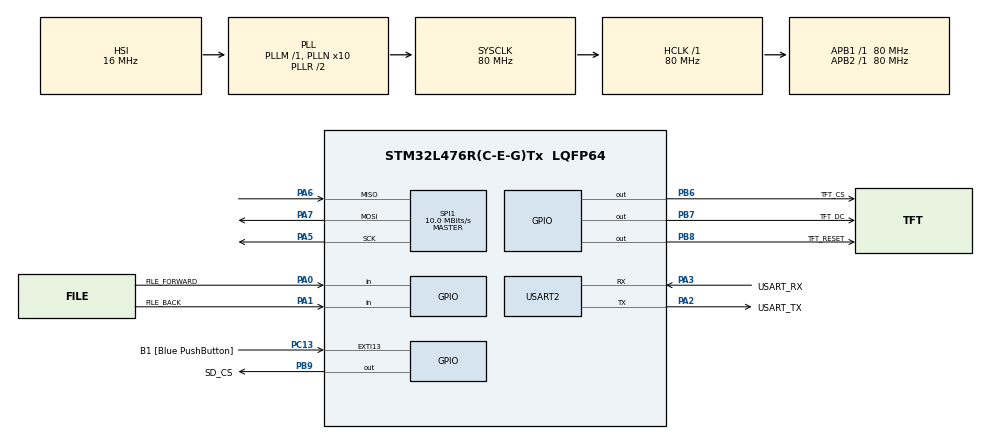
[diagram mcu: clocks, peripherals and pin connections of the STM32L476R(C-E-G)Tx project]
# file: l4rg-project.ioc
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FATFS._USE_LFN=2
FREERTOS.Mutexes01=spiMutex,Dynamic,NULL,Available;fileMutex,Dynamic,NULL,Available
FREERTOS.Tasks01=defaultTask,8,128,StartDefaultTask,Default,NULL,Dynamic,NULL,NULL;DisplayTask,24,1024,DisplayTaskEntry,Default,NULL,Dynamic,NULL,NULL;SDCardTask,16,1024,SDCardTaskEntry,Default,NULL,Dynamic,NULL,NULL;ButtonTask,24,128,ButtonTaskEntry,Default,NULL,Dynamic,NULL,NULL
FREERTOS.configTOTAL_HEAP_SIZE=30720
Mcu.Family=STM32L4
Mcu.Name=STM32L476R(C-E-G)Tx
Mcu.Package=LQFP64
NVIC.PriorityGroup=NVIC_PRIORITYGROUP_4
NVIC.TIM6_DAC_IRQn=true\:15\:0\:false\:false\:true\:false\:false\:true\:true
NVIC.TimeBase=TIM6_DAC_IRQn
NVIC.TimeBaseIP=TIM6
PA0.GPIO_Label=FILE_FORWARD
PA0.GPIO_PuPd=GPIO_PULLUP
PA0.Signal=GPIO_Input
PA1.GPIO_Label=FILE_BACK
PA1.GPIO_PuPd=GPIO_PULLUP
PA1.Signal=GPIO_Input
PA13\ (JTMS-SWDIO).GPIO_Label=TMS
PA13\ (JTMS-SWDIO).Mode=Serial_Wire
PA13\ (JTMS-SWDIO).Signal=SYS_JTMS-SWDIO
PA14\ (JTCK-SWCLK).GPIO_Label=TCK
PA14\ (JTCK-SWCLK).Mode=Serial_Wire
PA14\ (JTCK-SWCLK).Signal=SYS_JTCK-SWCLK
PA2.GPIO_Label=USART_TX
PA2.GPIO_Mode=GPIO_MODE_AF_PP
PA2.GPIO_PuPd=GPIO_NOPULL
PA2.GPIO_Speed=GPIO_SPEED_FREQ_VERY_HIGH
PA2.Mode=Asynchronous
PA2.Signal=USART2_TX
PA3.GPIO_Label=USART_RX
PA3.GPIO_Mode=GPIO_MODE_AF_PP
PA3.GPIO_PuPd=GPIO_NOPULL
PA3.GPIO_Speed=GPIO_SPEED_FREQ_VERY_HIGH
PA3.Mode=Asynchronous
PA3.Signal=USART2_RX
PA5.Mode=Full_Duplex_Master
PA5.Signal=SPI1_SCK
PA6.Mode=Full_Duplex_Master
PA6.Signal=SPI1_MISO
PA7.Mode=Full_Duplex_Master
PA7.Signal=SPI1_MOSI
PB3\ (JTDO-TRACESWO).GPIO_Label=SWO
PB3\ (JTDO-TRACESWO).Signal=SYS_JTDO-SWO
PB6.GPIO_Label=TFT_CS
PB6.Signal=GPIO_Output
PB7.GPIO_Label=TFT_DC
PB7.Signal=GPIO_Output
PB8.GPIO_Label=TFT_RESET
PB8.Signal=GPIO_Output
PB9.GPIO_Label=SD_CS
PB9.Signal=GPIO_Output
PC13.GPIO_Label=B1 [Blue PushButton]
PC13.GPIO_ModeDefaultEXTI=GPIO_MODE_IT_FALLING
PC13.GPIO_PuPd=GPIO_NOPULL
PC13.Signal=GPXTI13
PC14-OSC32_IN\ (PC14).Mode=LSE-External-Oscillator
PC14-OSC32_IN\ (PC14).Signal=RCC_OSC32_IN
PC15-OSC32_OUT\ (PC15).Mode=LSE-External-Oscillator
PC15-OSC32_OUT\ (PC15).Signal=RCC_OSC32_OUT
PH0-OSC_IN\ (PH0).Signal=RCC_OSC_IN
PH1-OSC_OUT\ (PH1).Signal=RCC_OSC_OUT
ProjectManager.HeapSize=0x200
ProjectManager.StackSize=0x400
ProjectManager.TargetToolchain=STM32CubeIDE
RCC.ADCFreq_Value=64000000
RCC.AHBFreq_Value=80000000
RCC.APB1Freq_Value=80000000
RCC.APB1TimFreq_Value=80000000
RCC.APB2Freq_Value=80000000
RCC.APB2TimFreq_Value=80000000
RCC.CortexFreq_Value=80000000
RCC.HCLKFreq_Value=80000000
RCC.HSE_VALUE=8000000
RCC.HSI_VALUE=16000000
RCC.MSI_VALUE=4000000
RCC.PLLN=10
RCC.PLLSourceVirtual=RCC_PLLSOURCE_HSI
RCC.PREFETCH_ENABLE=1
RCC.SYSCLKFreq_VALUE=80000000
RCC.SYSCLKSource=RCC_SYSCLKSOURCE_PLLCLK
RCC.USBFreq_Value=64000000
RCC.VCOOutputFreq_Value=160000000
SPI1.BaudRatePrescaler=SPI_BAUDRATEPRESCALER_8
SPI1.CalculateBaudRate=10.0 MBits/s
SPI1.DataSize=SPI_DATASIZE_8BIT
SPI1.Direction=SPI_DIRECTION_2LINES
SPI1.Mode=SPI_MODE_MASTER
SPI1.VirtualType=VM_MASTER
USART2.VirtualMode-Asynchronous=VM_ASYNC
VP_FATFS_VS_Generic.Mode=User_defined
VP_FREERTOS_VS_CMSIS_V2.Mode=CMSIS_V2
VP_SYS_VS_tim6.Mode=TIM6
board=NUCLEO-L476RG

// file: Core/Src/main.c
/* USER CODE BEGIN Header */
/**
  ******************************************************************************
  * @file           : main.c
  * @brief          : Main program body
  ******************************************************************************
  * @attention
  *
  * Copyright (c) 2026 STMicroelectronics.
  * All rights reserved.
  *
  * This software is licensed under terms that can be found in the LICENSE file
  * in the root directory of this software component.
  * If no LICENSE file comes with this software, it is provided AS-IS.
  *
  ******************************************************************************
  */
/* USER CODE END Header */
#include "main.h"
#include "cmsis_os.h"

/* USER CODE BEGIN Includes */
#include <stdio.h>
#include <string.h>
#include "platform_generic.h"
#include "sdcard_task.h"
#include "display_task.h"
/* USER CODE END Includes */

/* USER CODE BEGIN PD */
#define INFO_AREA_X 10
#define INFO_AREA_Y 30
#define MAX_LINE_CHARS 38  // max characters per line
#define MAX_TEXT_LENGTH 512
/* USER CODE END PD */

SPI_HandleTypeDef hspi1;

UART_HandleTypeDef huart2;

/* Definitions for defaultTask */
osThreadId_t defaultTaskHandle;
const osThreadAttr_t defaultTask_attributes = {
  .name = "defaultTask",
  .stack_size = 128 * 4,
  .priority = (osPriority_t) osPriorityLow,
};
/* Definitions for DisplayTask */
osThreadId_t DisplayTaskHandle;
const osThreadAttr_t DisplayTask_attributes = {
  .name = "DisplayTask",
  .stack_size = 1024 * 4,
  .priority = (osPriority_t) osPriorityNormal,
};
/* Definitions for SDCardTask */
osThreadId_t SDCardTaskHandle;
const osThreadAttr_t SDCardTask_attributes = {
  .name = "SDCardTask",
  .stack_size = 1024 * 4,
  .priority = (osPriority_t) osPriorityBelowNormal,
};
/* Definitions for ButtonTask */
osThreadId_t ButtonTaskHandle;
const osThreadAttr_t ButtonTask_attributes = {
  .name = "ButtonTask",
  .stack_size = 128 * 4,
  .priority = (osPriority_t) osPriorityNormal,
};
/* Definitions for spiMutex */
osMutexId_t spiMutexHandle;
const osMutexAttr_t spiMutex_attributes = {
  .name = "spiMutex"
};
/* Definitions for fileMutex */
osMutexId_t fileMutexHandle;
const osMutexAttr_t fileMutex_attributes = {
  .name = "fileMutex"
};
/* USER CODE BEGIN PV */
volatile uint8_t cycle_next_flag = 0;
volatile uint8_t cycle_prev_flag = 0;
volatile uint8_t read_file_flag = 1;
char shared_file_buffer[SHARED_BUFFER_SIZE];
volatile uint8_t file_content_updated = 0;
/* USER CODE END PV */

void SystemClock_Config(void);
static void MX_GPIO_Init(void);
static void MX_USART2_UART_Init(void);
static void MX_SPI1_Init(void);
void StartDefaultTask(void *argument);
void DisplayTaskEntry(void *argument);
void SDCardTaskEntry(void *argument);
void ButtonTaskEntry(void *argument);

/* USER CODE BEGIN 0 */
// Redirect printf to UART
int _write(int file, char *ptr, int len)
{
  HAL_UART_Transmit(&huart2, (uint8_t*)ptr, len, HAL_MAX_DELAY);
  return len;
}
/* USER CODE END 0 */

int main(void)
{

  /* MCU Configuration--------------------------------------------------------*/

  /* Reset of all peripherals, Initializes the Flash interface and the Systick. */
  HAL_Init();

  /* Configure the system clock */
  SystemClock_Config();

  /* Initialize all configured peripherals */
  MX_GPIO_Init();
  MX_USART2_UART_Init();
  MX_FATFS_Init();
  MX_SPI1_Init();
  /* USER CODE BEGIN 2 */
  Platform_SPI_Init();
  /* USER CODE END 2 */

  /* Init scheduler */
  osKernelInitialize();
  /* Create the mutex(es) */
  /* creation of spiMutex */
  spiMutexHandle = osMutexNew(&spiMutex_attributes);

  /* creation of fileMutex */
  fileMutexHandle = osMutexNew(&fileMutex_attributes);

  /* Create the thread(s) */
  /* creation of defaultTask */
  defaultTaskHandle = osThreadNew(StartDefaultTask, NULL, &defaultTask_attributes);

  /* creation of DisplayTask */
  DisplayTaskHandle = osThreadNew(DisplayTaskEntry, NULL, &DisplayTask_attributes);

  /* creation of SDCardTask */
  SDCardTaskHandle = osThreadNew(SDCardTaskEntry, NULL, &SDCardTask_attributes);

  /* creation of ButtonTask */
  ButtonTaskHandle = osThreadNew(ButtonTaskEntry, NULL, &ButtonTask_attributes);

  /* Start scheduler */
  osKernelStart();

  /* We should never get here as control is now taken by the scheduler */

  /* Infinite loop */
  while (1)
  {

  }
}

void SystemClock_Config(void)
{
  RCC_OscInitTypeDef RCC_OscInitStruct = {0};
  RCC_ClkInitTypeDef RCC_ClkInitStruct = {0};

  /** Configure the main internal regulator output voltage
  */
  if (HAL_PWREx_ControlVoltageScaling(PWR_REGULATOR_VOLTAGE_SCALE1) != HAL_OK)
  {
    Error_Handler();
  }

  /** Initializes the RCC Oscillators according to the specified parameters
  * in the RCC_OscInitTypeDef structure.
  */
  RCC_OscInitStruct.OscillatorType = RCC_OSCILLATORTYPE_HSI;
  RCC_OscInitStruct.HSIState = RCC_HSI_ON;
  RCC_OscInitStruct.HSICalibrationValue = RCC_HSICALIBRATION_DEFAULT;
  RCC_OscInitStruct.PLL.PLLState = RCC_PLL_ON;
  RCC_OscInitStruct.PLL.PLLSource = RCC_PLLSOURCE_HSI;
  RCC_OscInitStruct.PLL.PLLM = 1;
  RCC_OscInitStruct.PLL.PLLN = 10;
  RCC_OscInitStruct.PLL.PLLP = RCC_PLLP_DIV7;
  RCC_OscInitStruct.PLL.PLLQ = RCC_PLLQ_DIV2;
  RCC_OscInitStruct.PLL.PLLR = RCC_PLLR_DIV2;
  if (HAL_RCC_OscConfig(&RCC_OscInitStruct) != HAL_OK)
  {
    Error_Handler();
  }

  /** Initializes the CPU, AHB and APB buses clocks
  */
  RCC_ClkInitStruct.ClockType = RCC_CLOCKTYPE_HCLK|RCC_CLOCKTYPE_SYSCLK
                              |RCC_CLOCKTYPE_PCLK1|RCC_CLOCKTYPE_PCLK2;
  RCC_ClkInitStruct.SYSCLKSource = RCC_SYSCLKSOURCE_PLLCLK;
  RCC_ClkInitStruct.AHBCLKDivider = RCC_SYSCLK_DIV1;
  RCC_ClkInitStruct.APB1CLKDivider = RCC_HCLK_DIV1;
  RCC_ClkInitStruct.APB2CLKDivider = RCC_HCLK_DIV1;

  if (HAL_RCC_ClockConfig(&RCC_ClkInitStruct, FLASH_LATENCY_4) != HAL_OK)
  {
    Error_Handler();
  }
}

static void MX_SPI1_Init(void)
{

  /* SPI1 parameter configuration*/
  hspi1.Instance = SPI1;
  hspi1.Init.Mode = SPI_MODE_MASTER;
  hspi1.Init.Direction = SPI_DIRECTION_2LINES;
  hspi1.Init.DataSize = SPI_DATASIZE_8BIT;
  hspi1.Init.CLKPolarity = SPI_POLARITY_LOW;
  hspi1.Init.CLKPhase = SPI_PHASE_1EDGE;
  hspi1.Init.NSS = SPI_NSS_SOFT;
  hspi1.Init.BaudRatePrescaler = SPI_BAUDRATEPRESCALER_8;
  hspi1.Init.FirstBit = SPI_FIRSTBIT_MSB;
  hspi1.Init.TIMode = SPI_TIMODE_DISABLE;
  hspi1.Init.CRCCalculation = SPI_CRCCALCULATION_DISABLE;
  hspi1.Init.CRCPolynomial = 7;
  hspi1.Init.CRCLength = SPI_CRC_LENGTH_DATASIZE;
  hspi1.Init.NSSPMode = SPI_NSS_PULSE_ENABLE;
  if (HAL_SPI_Init(&hspi1) != HAL_OK)
  {
    Error_Handler();
  }

}

static void MX_USART2_UART_Init(void)
{

  huart2.Instance = USART2;
  huart2.Init.BaudRate = 115200;
  huart2.Init.WordLength = UART_WORDLENGTH_8B;
  huart2.Init.StopBits = UART_STOPBITS_1;
  huart2.Init.Parity = UART_PARITY_NONE;
  huart2.Init.Mode = UART_MODE_TX_RX;
  huart2.Init.HwFlowCtl = UART_HWCONTROL_NONE;
  huart2.Init.OverSampling = UART_OVERSAMPLING_16;
  huart2.Init.OneBitSampling = UART_ONE_BIT_SAMPLE_DISABLE;
  huart2.AdvancedInit.AdvFeatureInit = UART_ADVFEATURE_NO_INIT;
  if (HAL_UART_Init(&huart2) != HAL_OK)
  {
    Error_Handler();
  }

}

static void MX_GPIO_Init(void)
{
  GPIO_InitTypeDef GPIO_InitStruct = {0};

  /* GPIO Ports Clock Enable */
  __HAL_RCC_GPIOC_CLK_ENABLE();
  __HAL_RCC_GPIOH_CLK_ENABLE();
  __HAL_RCC_GPIOA_CLK_ENABLE();
  __HAL_RCC_GPIOB_CLK_ENABLE();

  /*Configure GPIO pin Output Level */
  HAL_GPIO_WritePin(GPIOB, TFT_CS_Pin|TFT_DC_Pin|TFT_RESET_Pin|SD_CS_Pin, GPIO_PIN_RESET);

  /*Configure GPIO pin : B1_Pin */
  GPIO_InitStruct.Pin = B1_Pin;
  GPIO_InitStruct.Mode = GPIO_MODE_IT_FALLING;
  GPIO_InitStruct.Pull = GPIO_NOPULL;
  HAL_GPIO_Init(B1_GPIO_Port, &GPIO_InitStruct);

  /*Configure GPIO pins : FILE_FORWARD_Pin FILE_BACK_Pin */
  GPIO_InitStruct.Pin = FILE_FORWARD_Pin|FILE_BACK_Pin;
  GPIO_InitStruct.Mode = GPIO_MODE_INPUT;
  GPIO_InitStruct.Pull = GPIO_PULLUP;
  HAL_GPIO_Init(GPIOA, &GPIO_InitStruct);

  /*Configure GPIO pins : TFT_CS_Pin TFT_DC_Pin TFT_RESET_Pin SD_CS_Pin */
  GPIO_InitStruct.Pin = TFT_CS_Pin|TFT_DC_Pin|TFT_RESET_Pin|SD_CS_Pin;
  GPIO_InitStruct.Mode = GPIO_MODE_OUTPUT_PP;
  GPIO_InitStruct.Pull = GPIO_NOPULL;
  GPIO_InitStruct.Speed = GPIO_SPEED_FREQ_LOW;
  HAL_GPIO_Init(GPIOB, &GPIO_InitStruct);

}

void StartDefaultTask(void *argument)
{
  for(;;)
  {
    osDelay(1);
  }
}

void DisplayTaskEntry(void *argument)
{
  /* USER CODE BEGIN DisplayTaskEntry */
  Display_Init(BLACK);

  /* Infinite loop */
  for(;;) {
	  if(file_content_updated) {
		  DisplayTaskLoop(BLACK, CYAN);
	  }
      osDelay(100); // wait before refreshing
  }
  /* USER CODE END DisplayTaskEntry */
}

void SDCardTaskEntry(void *argument)
{
  /* USER CODE BEGIN SDCardTaskEntry */
    SDCard_Init(); // Initialize SD card and mount file system

    // Scan directory for files
    if(SDCard_ScanDirectory("/sappy_notes") == 0) {
        while(1) osDelay(1000); // No files found - halt
    }

    // Enter main task loop
    SDCardTaskLoop();
  /* USER CODE END SDCardTaskEntry */
}

void ButtonTaskEntry(void *argument)
{
  /* USER CODE BEGIN ButtonTaskEntry */
	  uint8_t btn_next_prev = GPIO_PIN_SET;
	  uint8_t btn_prev_prev = GPIO_PIN_SET;

	  printf("Button Task Started\r\n");
  /* Infinite loop */
	  for(;;)
		  {
		    // Read current button states
		    uint8_t btn_next_current = HAL_GPIO_ReadPin(FILE_FORWARD_GPIO_Port, FILE_FORWARD_Pin);
		    uint8_t btn_prev_current = HAL_GPIO_ReadPin(FILE_BACK_GPIO_Port, FILE_BACK_Pin);

		    // Detect NEXT button press (falling edge: HIGH -> LOW)
		    if(btn_next_prev == GPIO_PIN_SET && btn_next_current == GPIO_PIN_RESET) {
		      cycle_next_flag = 1;
		      printf("Next button pressed!\r\n");
		    }

		    // Detect PREV button press (falling edge: HIGH -> LOW)
		    if(btn_prev_prev == GPIO_PIN_SET && btn_prev_current == GPIO_PIN_RESET) {
		      cycle_prev_flag = 1;
		      printf("Prev button pressed!\r\n");
		    }

		    // Save current state for next iteration
		    btn_next_prev = btn_next_current;
		    btn_prev_prev = btn_prev_current;

		    // Delay 50ms (acts as debounce filter)
		    osDelay(50);
		  }
  /* USER CODE END ButtonTaskEntry */
}

void HAL_TIM_PeriodElapsedCallback(TIM_HandleTypeDef *htim)
{
  if (htim->Instance == TIM6)
  {
    HAL_IncTick();
  }
}

void Error_Handler(void)
{
  __disable_irq();
  while (1)
  {
  }
}
